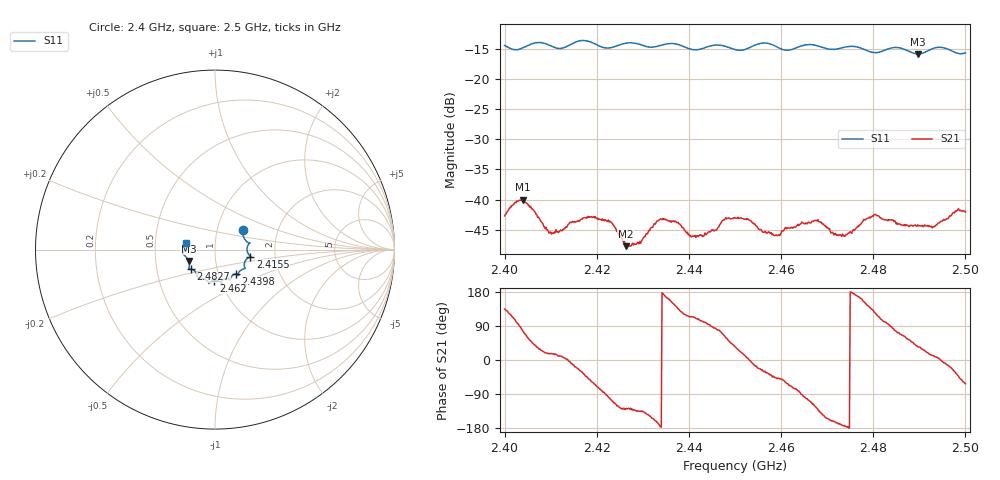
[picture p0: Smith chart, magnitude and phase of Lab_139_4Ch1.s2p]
# Hz S RI R 50
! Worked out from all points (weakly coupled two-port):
!   601 points, 2.4 GHz to 2.5 GHz, reference 50 ohm
!   highest |S21| = -40.00 dB at 2.404 GHz (marker M1); lowest = -47.7 dB at 2.4263 GHz (marker M2)
!   lowest |S11| = -15.9 dB at 2.4897 GHz (marker M3), VSWR 1.38, Z = 36.9 - j4.82 ohm
!   |S11| at or under -10 dB: start of sweep to end of sweep
!   S12 and S22 are empty: the file has one direction only
!   S11 on the Smith chart (normalised r, x): 2.4 GHz: 1.33, +0.29; 2.4155 GHz: 1.49, -0.12; 2.4398 GHz: 1.21, -0.34; 2.462 GHz: 0.93, -0.33; 2.4827 GHz: 0.75, -0.17; 2.5 GHz: 0.72, +0.06
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2.4e9  0.1553 0.1068  -0.00512 0.00527  0 0  0 0
2.404e9  0.174 0.0465  0.00248 0.00968  0 0  0 0
2.41e9  0.1852 0.0269  0.00518 0.00153  0 0  0 0
2.4155e9  0.1978 -0.0394  0.0062 -0.00214  0 0  0 0
2.416667e9  0.2026 -0.0428  0.00592 -0.00355  0 0  0 0
2.422833e9  0.1641 -0.0746  -0.00129 -0.00652  0 0  0 0
2.426333e9  0.1679 -0.1027  -0.00259 -0.00322  0 0  0 0
2.4295e9  0.1579 -0.1083  -0.00307 -0.0031  0 0  0 0
2.433333e9  0.1295 -0.1342  -0.00656 -0.00139  0 0  0 0
2.437167e9  0.131 -0.1431  -0.00517 0.00408  0 0  0 0
2.439833e9  0.1152 -0.1359  -0.00225 0.00463  0 0  0 0
2.443333e9  0.0869 -0.1574  -0.000864 0.005  0 0  0 0
2.45e9  0.065 -0.1619  0.00575 0.00411  0 0  0 0
2.458833e9  0.0324 -0.1825  0.00349 -0.0037  0 0  0 0
2.462e9  -0.00516 -0.1732  0.0022 -0.00539  0 0  0 0
2.466667e9  -0.0347 -0.1883  -0.00261 -0.00607  0 0  0 0
2.4735e9  -0.0854 -0.1601  -0.00504 -0.000579  0 0  0 0
2.48e9  -0.11 -0.1228  -0.00478 0.00551  0 0  0 0
2.482667e9  -0.135 -0.1086  -0.0011 0.00673  0 0  0 0
2.483333e9  -0.1401 -0.1083  -0.000421 0.00684  0 0  0 0
2.489667e9  -0.1471 -0.0637  0.00508 0.00355  0 0  0 0
2.5e9  -0.159 0.0391  0.00361 -0.00702  0 0  0 0
